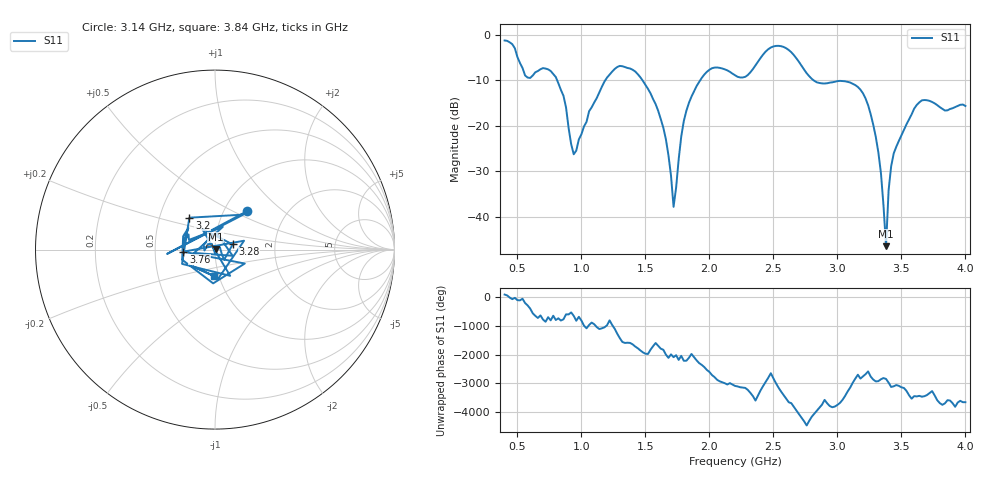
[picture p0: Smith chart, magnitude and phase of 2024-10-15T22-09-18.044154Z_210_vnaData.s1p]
! Created with skrf (http://scikit-rf.org).
# Hz S RI R 50.0
!freq ReS11 ImS11
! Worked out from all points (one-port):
!   181 points, 400 MHz to 4 GHz, reference 50 ohm
!   lowest |S11| = -46.5 dB at 3.38 GHz (marker M1), VSWR 1.01, Z = 50.4 + j0.293 ohm
!   |S11| at or under -10 dB: 810.8 MHz to 1.186 GHz (374.9 MHz wide, 37.6 % of centre); 1.478 GHz to 1.927 GHz (449.4 MHz wide, 26.4 % of centre); 2.816 GHz to end of sweep
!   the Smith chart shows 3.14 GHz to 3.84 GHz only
!   S11 on the Smith chart (normalised r, x): 3.14 GHz: 1.28, +0.60; 3.2 GHz: 0.71, +0.27; 3.28 GHz: 1.22, +0.07; 3.76 GHz: 0.70, -0.02; 3.84 GHz: 0.95, -0.29
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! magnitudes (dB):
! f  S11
! 400 MHz  -1.2
! 560 MHz  -8.9
! 740 MHz  -7.6
! 860 MHz  -13.4
! 940 MHz  -26.3
! 1.3 GHz  -6.8
! 1.58 GHz  -15.2
! 1.66 GHz  -22.9
! 1.72 GHz  -37.8
! 1.76 GHz  -27.4
! 1.82 GHz  -16.7
! 1.94 GHz  -9.5
! 2.2 GHz  -8.8
! 2.5 GHz  -2.5
! 2.66 GHz  -4.4
! 2.84 GHz  -10.4
! 3.1 GHz  -10.5
! 3.14 GHz  -11.0
! 3.2 GHz  -12.8
! 3.28 GHz  -19.7
! 3.34 GHz  -30.4
! 3.38 GHz  -46.5
! 3.4 GHz  -34.2
! 3.42 GHz  -28.9
! 3.56 GHz  -18.6
! 3.76 GHz  -15.1
! 3.84 GHz  -16.6
! 4 GHz  -15.6
